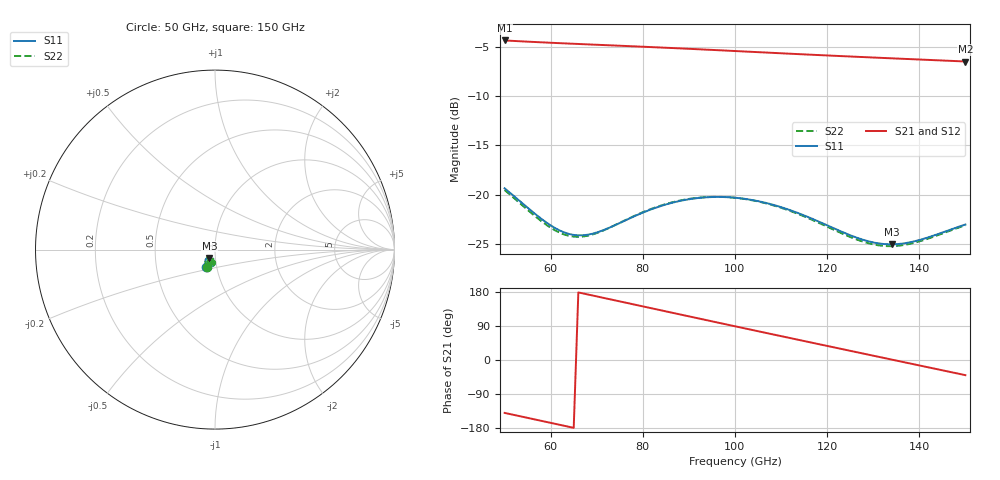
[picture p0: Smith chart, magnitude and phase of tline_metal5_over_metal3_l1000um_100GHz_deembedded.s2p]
! Created with skrf 2.2.0 (http://scikit-rf.org).
# GHz S DB R 50.0
! Port[1] = P1
! Port[2] = P2
!freq dBS11 angS11 dBS21 angS21 dBS12 angS12 dBS22 angS22
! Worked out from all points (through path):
!   101 points, 50 GHz to 150 GHz, reference 50 ohm
!   highest |S21| = -4.34 dB at 50 GHz (marker M1); lowest = -6.5 dB at 150 GHz (marker M2)
!   group delay of S21, straight-line fit = 7.24 ps
!   lowest |S11| = -25.1 dB at 134 GHz (marker M3), VSWR 1.12, Z = 46.8 - j4.37 ohm
!   |S11| at or under -10 dB: start of sweep to end of sweep
!   |S22| runs from -25.3 to -19.5 dB; largest |S21 - S12| = 8.9e-14
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50  -19.37 -116.2  -4.34 -139.6  -4.34 -139.6  -19.54 -115.9
55  -21.34 -117.8  -4.46 -152.8  -4.46 -152.8  -21.56 -117.1
60  -23.14 -113.7  -4.57 -165.9  -4.57 -165.9  -23.38 -112.3
64  -24.01 -106.6  -4.65 -176.4  -4.65 -176.4  -24.21 -104.6
67  -24.15 -100.5  -4.71 175.7  -4.71 175.7  -24.27 -98.4
70  -23.86 -95.5  -4.77 167.8  -4.77 167.8  -23.92 -93.3
75  -22.89 -91.4  -4.87 154.7  -4.87 154.7  -22.88 -89.6
79  -22.04 -91.8  -4.95 144.1  -4.95 144.1  -22.00 -90.3
84  -21.16 -95.5  -5.06 131.0  -5.06 131.0  -21.11 -94.2
88  -20.66 -99.9  -5.14 120.4  -5.14 120.4  -20.62 -98.9
92  -20.36 -105.1  -5.23 109.9  -5.23 109.9  -20.33 -104.3
96  -20.25 -110.6  -5.32 99.5  -5.32 99.5  -20.24 -109.9
100  -20.33 -116.2  -5.41 89.0  -5.41 89.0  -20.33 -115.6
104  -20.58 -121.5  -5.50 78.6  -5.50 78.6  -20.61 -121.0
108  -21.01 -126.3  -5.59 68.2  -5.59 68.2  -21.06 -125.9
117  -22.52 -133.5  -5.79 44.9  -5.79 44.9  -22.63 -133.1
122  -23.55 -134.1  -5.90 32.0  -5.90 32.0  -23.70 -133.6
126  -24.32 -132.3  -5.99 21.7  -5.99 21.7  -24.50 -131.6
130  -24.87 -128.4  -6.07 11.4  -6.07 11.4  -25.07 -127.5
134  -25.07 -123.5  -6.15 1.1  -6.15 1.1  -25.25 -122.3
142  -24.35 -115.5  -6.31 -19.5  -6.31 -19.5  -24.47 -114.1
150  -23.05 -114.7  -6.48 -40.0  -6.48 -40.0  -23.13 -113.4
